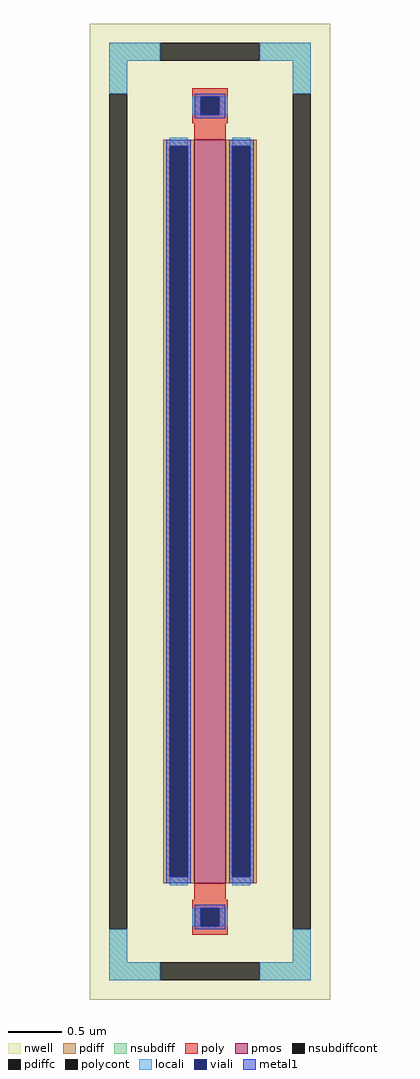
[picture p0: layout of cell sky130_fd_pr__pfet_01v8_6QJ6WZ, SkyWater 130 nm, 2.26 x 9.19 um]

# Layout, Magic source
magic
tech sky130A
magscale 1 2
<< nwell >>
rect -226 -919 226 919
<< pmos >>
rect -30 -700 30 700
<< pdiff >>
rect -88 688 -30 700
rect -88 -688 -76 688
rect -42 -688 -30 688
rect -88 -700 -30 -688
rect 30 688 88 700
rect 30 -688 42 688
rect 76 -688 88 688
rect 30 -700 88 -688
<< pdiffc >>
rect -76 -688 -42 688
rect 42 -688 76 688
<< nsubdiff >>
rect -190 849 -94 883
rect 94 849 190 883
rect -190 787 -156 849
rect 156 787 190 849
rect -190 -849 -156 -787
rect 156 -849 190 -787
rect -190 -883 -94 -849
rect 94 -883 190 -849
<< nsubdiffcont >>
rect -94 849 94 883
rect -190 -787 -156 787
rect 156 -787 190 787
rect -94 -883 94 -849
<< poly >>
rect -33 781 33 797
rect -33 747 -17 781
rect 17 747 33 781
rect -33 731 33 747
rect -30 700 30 731
rect -30 -731 30 -700
rect -33 -747 33 -731
rect -33 -781 -17 -747
rect 17 -781 33 -747
rect -33 -797 33 -781
<< polycont >>
rect -17 747 17 781
rect -17 -781 17 -747
<< locali >>
rect -190 849 -94 883
rect 94 849 190 883
rect -190 787 -156 849
rect 156 787 190 849
rect -33 747 -17 781
rect 17 747 33 781
rect -76 688 -42 704
rect -76 -704 -42 -688
rect 42 688 76 704
rect 42 -704 76 -688
rect -33 -781 -17 -747
rect 17 -781 33 -747
rect -190 -849 -156 -787
rect 156 -849 190 -787
rect -190 -883 -94 -849
rect 94 -883 190 -849
<< viali >>
rect -17 747 17 781
rect -76 -688 -42 688
rect 42 -688 76 688
rect -17 -781 17 -747
<< metal1 >>
rect -29 781 29 787
rect -29 747 -17 781
rect 17 747 29 781
rect -29 741 29 747
rect -82 688 -36 700
rect -82 -688 -76 688
rect -42 -688 -36 688
rect -82 -700 -36 -688
rect 36 688 82 700
rect 36 -688 42 688
rect 76 -688 82 688
rect 36 -700 82 -688
rect -29 -747 29 -741
rect -29 -781 -17 -747
rect 17 -781 29 -747
rect -29 -787 29 -781
<< properties >>
string FIXED_BBOX -173 -866 173 866
string gencell sky130_fd_pr__pfet_01v8
string library sky130
string parameters w 7.0 l 0.3 m 1 nf 1 diffcov 100 polycov 100 guard 1 glc 1 grc 1 gtc 1 gbc 1 tbcov 100 rlcov 100 topc 1 botc 1 poverlap 0 doverlap 1 lmin 0.15 wmin 0.42 compatible {sky130_fd_pr__pfet_01v8  sky130_fd_pr__pfet_01v8_lvt sky130_fd_pr__pfet_01v8_hvt  sky130_fd_pr__pfet_g5v0d10v5} full_metal 1 viasrc 100 viadrn 100 viagate 100 viagb 0 viagr 0 viagl 0 viagt 0
<< end >>
